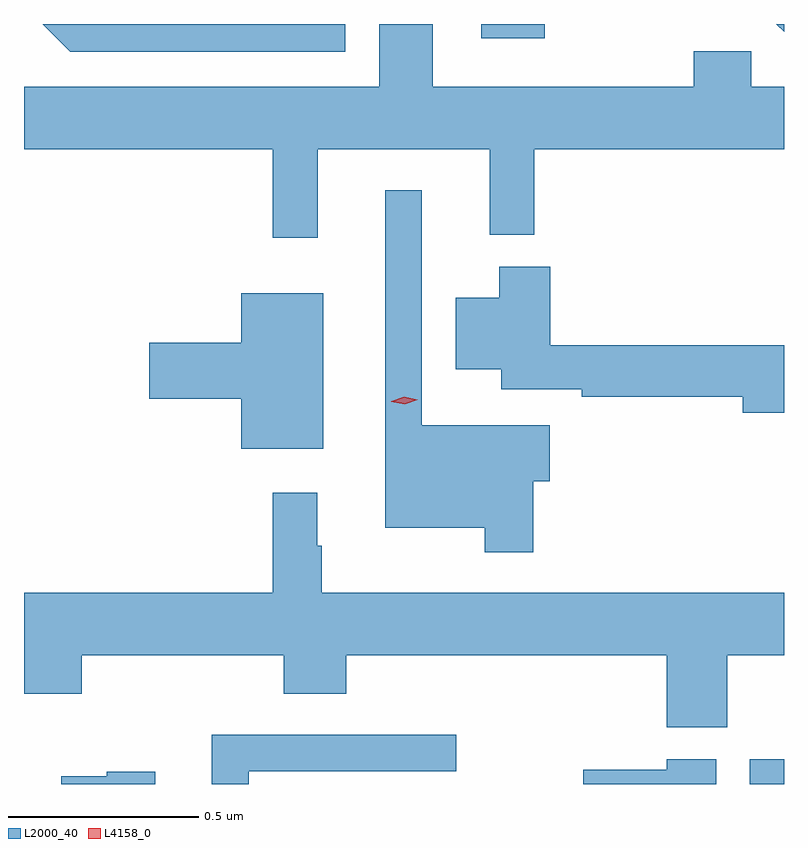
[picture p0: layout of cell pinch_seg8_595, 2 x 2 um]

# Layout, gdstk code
import gdstk
lib = gdstk.Library(unit=1e-6, precision=1e-09)
def R(c, l, rs):  # rectangles x0, y0, x1, y1
    for r in rs: c.add(gdstk.rectangle(r[:2], r[2:], *l))
def P(c, l, *ps):  # polygons
    for p in ps: c.add(gdstk.Polygon(p, *l))
L2000_40 = (2000, 40)
L4158_0 = (4158, 0)

pinch_seg8_595 = lib.new_cell('pinch_seg8_595')
R(pinch_seg8_595, L2000_40, [(172.688,1092.185,172.778,1092.25), (171.981,1094.148,172.149,1094.185)])
P(pinch_seg8_595, L2000_40, [(171.551,1093.856),(172.004,1093.856),(172.004,1093.631),(172.121,1093.631),(172.121,1093.856),(172.778,1093.856),(172.778,1094.02),(172.692,1094.02),(172.692,1094.113),(172.541,1094.113),(172.541,1094.02),(171.853,1094.02),(171.853,1094.185),(171.713,1094.185),(171.713,1094.02),(170.778,1094.02),(170.778,1093.856),(171.433,1093.856),(171.433,1093.623),(171.551,1093.623)],
  [(172.778,1094.185),(172.757,1094.185),(172.778,1094.164)],
  [(171.624,1094.185),(170.827,1094.185),(170.9,1094.112),(171.624,1094.112)],
  [(172.118,1092.982),(172.162,1092.982),(172.162,1093.129),(171.825,1093.129),(171.825,1093.747),(171.728,1093.747),(171.728,1092.86),(171.99,1092.86),(171.99,1092.795),(172.118,1092.795)],
  [(172.778,1093.34),(172.163,1093.34),(172.163,1093.546),(172.028,1093.546),(172.028,1093.465),(171.914,1093.465),(171.914,1093.277),(172.034,1093.277),(172.034,1093.224),(172.246,1093.224),(172.246,1093.204),(172.67,1093.204),(172.67,1093.162),(172.778,1093.162)],
  [(171.565,1093.477),(171.35,1093.477),(171.35,1093.346),(171.108,1093.346),(171.108,1093.199),(171.35,1093.199),(171.35,1093.067),(171.565,1093.067)],
  [(171.562,1092.812),(171.55,1092.812),(171.55,1092.952),(171.433,1092.952),(171.433,1092.688),(170.778,1092.688),(170.778,1092.422),(170.93,1092.422),(170.93,1092.524),(171.461,1092.524),(171.461,1092.422),(171.626,1092.422),(171.626,1092.524),(172.469,1092.524),(172.469,1092.335),(172.629,1092.335),(172.629,1092.524),(172.778,1092.524),(172.778,1092.688),(171.562,1092.688)],
  [(171.369,1092.219),(171.916,1092.219),(171.916,1092.315),(171.272,1092.315),(171.272,1092.185),(171.369,1092.185)],
  [(172.6,1092.25),(172.47,1092.25),(172.47,1092.223),(172.25,1092.223),(172.25,1092.185),(172.6,1092.185)],
  [(171.124,1092.217),(170.996,1092.217),(170.996,1092.206),(170.876,1092.206),(170.876,1092.185),(171.124,1092.185)])
P(pinch_seg8_595, L4158_0, [(171.78,1093.184),(171.744,1093.191),(171.744,1093.191),(171.744,1093.192),(171.778,1093.204),(171.814,1093.196),(171.814,1093.196),(171.814,1093.196)])

lib.write_gds('pinch_seg8_595.gds')
